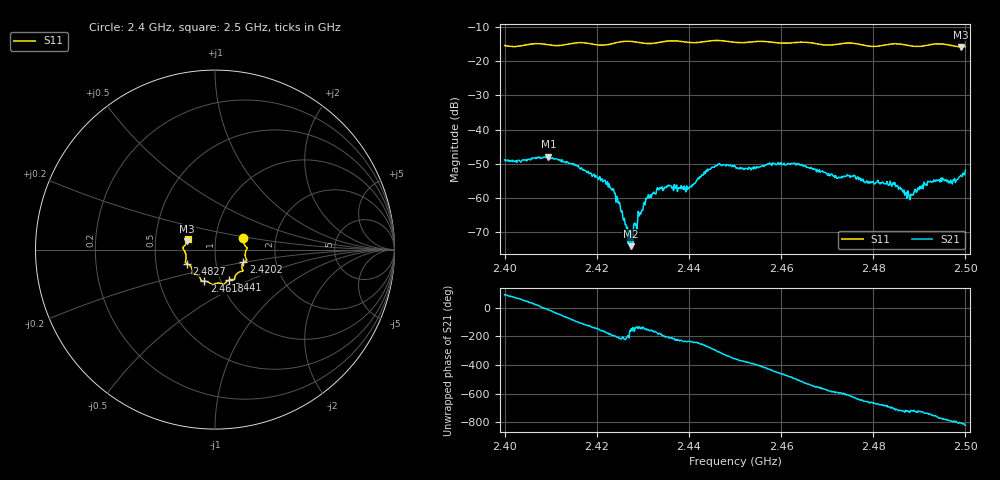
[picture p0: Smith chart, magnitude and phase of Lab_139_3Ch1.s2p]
# Hz S RI R 50
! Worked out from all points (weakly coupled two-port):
!   601 points, 2.4 GHz to 2.5 GHz, reference 50 ohm
!   highest |S21| = -47.94 dB at 2.4095 GHz (marker M1); lowest = -74.1 dB at 2.4273 GHz (marker M2)
!   lowest |S11| = -15.8 dB at 2.499 GHz (marker M3), VSWR 1.39, Z = 36.4 + j3.47 ohm
!   |S11| at or under -10 dB: start of sweep to end of sweep
!   S12 and S22 are empty: the file has one direction only
!   S11 on the Smith chart (normalised r, x): 2.4 GHz: 1.36, +0.18; 2.4202 GHz: 1.36, -0.20; 2.441 GHz: 1.10, -0.39; 2.4618 GHz: 0.84, -0.30; 2.4827 GHz: 0.72, -0.12; 2.5 GHz: 0.73, +0.09
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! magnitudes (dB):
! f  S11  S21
! 2.4 GHz  -15.4  -48.8
! 2.4095 GHz  -15.2  -47.9
! 2.4167 GHz  -14.6  -51.1
! 2.4202 GHz  -15.2  -54.0
! 2.4235 GHz  -14.8  -57.2
! 2.425 GHz  -14.3  -61.6
! 2.4273 GHz  -14.2  -74.1
! 2.4307 GHz  -14.8  -60.1
! 2.4333 GHz  -14.5  -57.5
! 2.441 GHz  -14.6  -56.0
! 2.4462 GHz  -13.9  -50.4
! 2.45 GHz  -14.5  -50.6
! 2.4618 GHz  -14.6  -50.0
! 2.4667 GHz  -14.6  -51.4
! 2.4725 GHz  -15.0  -53.9
! 2.4827 GHz  -15.2  -55.9
! 2.4833 GHz  -15.0  -56.3
! 2.4883 GHz  -15.5  -59.1
! 2.4923 GHz  -15.1  -55.2
! 2.4968 GHz  -15.4  -54.8
! 2.499 GHz  -15.8  -53.3
! 2.5 GHz  -15.7  -51.9
